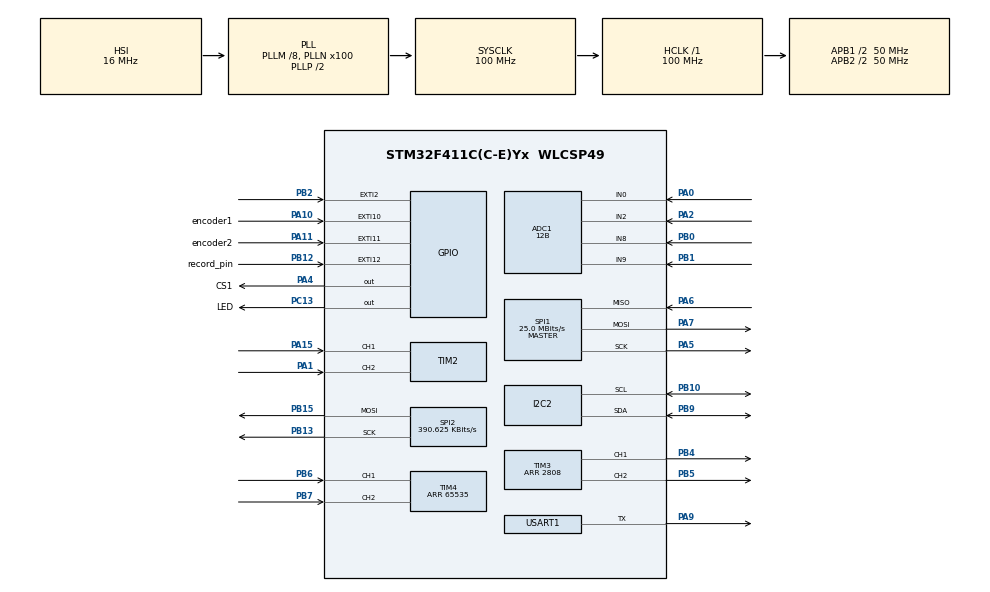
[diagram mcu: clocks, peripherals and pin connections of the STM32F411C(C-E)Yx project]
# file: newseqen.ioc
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ADC1.Channel-0\#ChannelRegularConversion=ADC_CHANNEL_9
ADC1.Channel-1\#ChannelInjectedConversion=ADC_CHANNEL_0
ADC1.Channel-2\#ChannelInjectedConversion=ADC_CHANNEL_2
ADC1.Channel-4\#ChannelInjectedConversion=ADC_CHANNEL_8
ADC1.ClockPrescaler=ADC_CLOCK_SYNC_PCLK_DIV6
ADC1.ContinuousConvMode=ENABLE
ADC1.DMAContinuousRequests=ENABLE
ADC1.EOCSelection=ADC_EOC_SEQ_CONV
ADC1.InjNumberOfConversion=3
ADC1.InjectedOffset-1\#ChannelInjectedConversion=0
ADC1.InjectedOffset-2\#ChannelInjectedConversion=0
ADC1.InjectedOffset-4\#ChannelInjectedConversion=0
ADC1.InjectedRank-1\#ChannelInjectedConversion=1
ADC1.InjectedRank-2\#ChannelInjectedConversion=2
ADC1.InjectedRank-4\#ChannelInjectedConversion=3
ADC1.NbrOfConversion=1
ADC1.NbrOfConversionFlag=1
ADC1.Resolution=ADC_RESOLUTION_12B
ADC1.SamplingTime-0\#ChannelRegularConversion=ADC_SAMPLETIME_144CYCLES
ADC1.SamplingTime-1\#ChannelInjectedConversion=ADC_SAMPLETIME_56CYCLES
ADC1.SamplingTime-2\#ChannelInjectedConversion=ADC_SAMPLETIME_56CYCLES
ADC1.SamplingTime-4\#ChannelInjectedConversion=ADC_SAMPLETIME_3CYCLES
ADC1.ScanConvMode=ENABLE
ADC1.master=1
Dma.ADC1.0.Direction=DMA_PERIPH_TO_MEMORY
Dma.ADC1.0.FIFOMode=DMA_FIFOMODE_DISABLE
Dma.ADC1.0.Instance=DMA2_Stream4
Dma.ADC1.0.MemDataAlignment=DMA_MDATAALIGN_HALFWORD
Dma.ADC1.0.MemInc=DMA_MINC_ENABLE
Dma.ADC1.0.Mode=DMA_CIRCULAR
Dma.ADC1.0.PeriphDataAlignment=DMA_PDATAALIGN_HALFWORD
Dma.ADC1.0.PeriphInc=DMA_PINC_DISABLE
Dma.ADC1.0.Priority=DMA_PRIORITY_LOW
Dma.Request0=ADC1
Dma.Request1=SPI2_TX
Dma.Request2=SPI1_RX
Dma.Request3=SPI1_TX
Dma.SPI1_RX.2.Direction=DMA_PERIPH_TO_MEMORY
Dma.SPI1_RX.2.FIFOMode=DMA_FIFOMODE_DISABLE
Dma.SPI1_RX.2.Instance=DMA2_Stream0
Dma.SPI1_RX.2.MemDataAlignment=DMA_MDATAALIGN_BYTE
Dma.SPI1_RX.2.MemInc=DMA_MINC_ENABLE
Dma.SPI1_RX.2.Mode=DMA_NORMAL
Dma.SPI1_RX.2.PeriphDataAlignment=DMA_PDATAALIGN_BYTE
Dma.SPI1_RX.2.PeriphInc=DMA_PINC_DISABLE
Dma.SPI1_RX.2.Priority=DMA_PRIORITY_LOW
Dma.SPI1_TX.3.Direction=DMA_MEMORY_TO_PERIPH
Dma.SPI1_TX.3.FIFOMode=DMA_FIFOMODE_DISABLE
Dma.SPI1_TX.3.Instance=DMA2_Stream2
Dma.SPI1_TX.3.MemDataAlignment=DMA_MDATAALIGN_BYTE
Dma.SPI1_TX.3.MemInc=DMA_MINC_ENABLE
Dma.SPI1_TX.3.Mode=DMA_NORMAL
Dma.SPI1_TX.3.PeriphDataAlignment=DMA_PDATAALIGN_BYTE
Dma.SPI1_TX.3.PeriphInc=DMA_PINC_DISABLE
Dma.SPI1_TX.3.Priority=DMA_PRIORITY_LOW
Dma.SPI2_TX.1.Direction=DMA_MEMORY_TO_PERIPH
Dma.SPI2_TX.1.FIFOMode=DMA_FIFOMODE_DISABLE
Dma.SPI2_TX.1.Instance=DMA1_Stream4
Dma.SPI2_TX.1.MemDataAlignment=DMA_MDATAALIGN_BYTE
Dma.SPI2_TX.1.MemInc=DMA_MINC_ENABLE
Dma.SPI2_TX.1.Mode=DMA_NORMAL
Dma.SPI2_TX.1.PeriphDataAlignment=DMA_PDATAALIGN_BYTE
Dma.SPI2_TX.1.PeriphInc=DMA_PINC_DISABLE
Dma.SPI2_TX.1.Priority=DMA_PRIORITY_LOW
I2C2.I2C_Mode=I2C_Standard
Mcu.Family=STM32F4
Mcu.Name=STM32F411C(C-E)Yx
Mcu.Package=WLCSP49
NVIC.DMA1_Stream4_IRQn=true\:5\:0\:true\:false\:true\:false\:true\:true
NVIC.DMA2_Stream0_IRQn=true\:0\:0\:false\:false\:true\:false\:true\:true
NVIC.DMA2_Stream2_IRQn=true\:0\:0\:false\:false\:true\:false\:true\:true
NVIC.DMA2_Stream4_IRQn=true\:2\:0\:true\:false\:true\:false\:true\:true
NVIC.EXTI15_10_IRQn=true\:4\:0\:true\:false\:true\:true\:true\:true
NVIC.PriorityGroup=NVIC_PRIORITYGROUP_4
NVIC.TIM1_UP_TIM10_IRQn=true\:3\:0\:true\:false\:true\:true\:true\:true
NVIC.TIM3_IRQn=true\:1\:0\:true\:false\:true\:true\:true\:true
PA0-WKUP.Signal=ADCx_IN0
PA1.GPIO_PuPd=GPIO_PULLUP
PA1.Signal=S_TIM2_CH2
PA10.GPIO_Label=encoder1
PA10.GPIO_ModeDefaultEXTI=GPIO_MODE_IT_FALLING
PA10.GPIO_PuPd=GPIO_PULLUP
PA10.Signal=GPXTI10
PA11.GPIO_Label=encoder2
PA11.GPIO_ModeDefaultEXTI=GPIO_MODE_IT_FALLING
PA11.GPIO_PuPd=GPIO_PULLUP
PA11.Signal=GPXTI11
PA13.Mode=Serial_Wire
PA13.Signal=SYS_JTMS-SWDIO
PA14.Mode=Serial_Wire
PA14.Signal=SYS_JTCK-SWCLK
PA15.GPIO_PuPd=GPIO_PULLUP
PA15.Signal=S_TIM2_CH1_ETR
PA2.Signal=ADCx_IN2
PA4.GPIO_Label=CS1
PA4.GPIO_Speed=GPIO_SPEED_FREQ_VERY_HIGH
PA4.PinState=GPIO_PIN_SET
PA4.Signal=GPIO_Output
PA5.GPIO_PuPd=GPIO_NOPULL
PA5.GPIO_Speed=GPIO_SPEED_FREQ_HIGH
PA5.Mode=Full_Duplex_Master
PA5.Signal=SPI1_SCK
PA6.GPIO_Speed=GPIO_SPEED_FREQ_HIGH
PA6.Mode=Full_Duplex_Master
PA6.Signal=SPI1_MISO
PA7.GPIO_Speed=GPIO_SPEED_FREQ_HIGH
PA7.Mode=Full_Duplex_Master
PA7.Signal=SPI1_MOSI
PA9.GPIO_ModeDefaultOD=GPIO_MODE_AF_PP
PA9.GPIO_PuPd=GPIO_NOPULL
PA9.GPIO_Speed=GPIO_SPEED_FREQ_LOW
PA9.Mode=Half_duplex(single_wire_mode)
PA9.Signal=USART1_TX
PB0.Signal=ADCx_IN8
PB1.Signal=ADCx_IN9
PB10.GPIO_Pu=GPIO_NOPULL
PB10.Mode=I2C
PB10.Signal=I2C2_SCL
PB12.GPIO_Label=record_pin
PB12.GPIO_ModeDefaultEXTI=GPIO_MODE_IT_FALLING
PB12.GPIO_PuPd=GPIO_PULLUP
PB12.Signal=GPXTI12
PB13.Mode=TX_Only_Simplex_Unidirect_Master
PB13.Signal=SPI2_SCK
PB15.Mode=TX_Only_Simplex_Unidirect_Master
PB15.Signal=SPI2_MOSI
PB2.GPIO_ModeDefaultEXTI=GPIO_MODE_IT_FALLING
PB2.GPIO_PuPd=GPIO_PULLUP
PB2.Signal=GPXTI2
PB4.Signal=S_TIM3_CH1
PB5.Signal=S_TIM3_CH2
PB6.GPIO_PuPd=GPIO_PULLUP
PB6.Signal=S_TIM4_CH1
PB7.GPIO_PuPd=GPIO_PULLUP
PB7.Signal=S_TIM4_CH2
PB9.GPIO_Pu=GPIO_NOPULL
PB9.Mode=I2C
PB9.Signal=I2C2_SDA
PC13-ANTI_TAMP.GPIO_Label=LED
PC13-ANTI_TAMP.Signal=GPIO_Output
ProjectManager.HeapSize=0x200
ProjectManager.StackSize=0x400
ProjectManager.TargetToolchain=STM32CubeIDE
RCC.48MHZClocksFreq_Value=50000000
RCC.AHBFreq_Value=100000000
RCC.APB1CLKDivider=RCC_HCLK_DIV2
RCC.APB1Freq_Value=50000000
RCC.APB1TimFreq_Value=100000000
RCC.APB2CLKDivider=RCC_HCLK_DIV2
RCC.APB2Freq_Value=50000000
RCC.APB2TimFreq_Value=100000000
RCC.CortexFreq_Value=100000000
RCC.HCLKFreq_Value=100000000
RCC.HSE_VALUE=25000000
RCC.HSI_VALUE=16000000
RCC.LSE_VALUE=32768
RCC.PLLM=8
RCC.PLLN=100
RCC.SYSCLKFreq_VALUE=100000000
RCC.SYSCLKSource=RCC_SYSCLKSOURCE_PLLCLK
RCC.VCOOutputFreq_Value=200000000
SH.ADCx_IN0.0=ADC1_IN0,IN0
SH.ADCx_IN2.0=ADC1_IN2,IN2
SH.ADCx_IN8.0=ADC1_IN8,IN8
SH.ADCx_IN9.0=ADC1_IN9,IN9
SH.S_TIM2_CH1_ETR.0=TIM2_CH1,Encoder_Interface
SH.S_TIM2_CH2.0=TIM2_CH2,Encoder_Interface
SH.S_TIM3_CH1.0=TIM3_CH1,PWM Generation1 CH1
SH.S_TIM3_CH2.0=TIM3_CH2,PWM Generation2 CH2
SH.S_TIM4_CH1.0=TIM4_CH1,Encoder_Interface
SH.S_TIM4_CH2.0=TIM4_CH2,Encoder_Interface
SPI1.BaudRatePrescaler=SPI_BAUDRATEPRESCALER_2
SPI1.CalculateBaudRate=25.0 MBits/s
SPI1.Direction=SPI_DIRECTION_2LINES
SPI1.Mode=SPI_MODE_MASTER
SPI1.VirtualType=VM_MASTER
SPI2.BaudRatePrescaler=SPI_BAUDRATEPRESCALER_128
SPI2.CalculateBaudRate=390.625 KBits/s
SPI2.Direction=SPI_DIRECTION_2LINES
SPI2.Mode=SPI_MODE_MASTER
SPI2.VirtualType=VM_MASTER
TIM10.AutoReloadPreload=TIM_AUTORELOAD_PRELOAD_ENABLE
TIM10.Channel=TIM_CHANNEL_1
TIM10.Period=50000
TIM10.Prescaler=4
TIM2.ClockDivision=TIM_CLOCKDIVISION_DIV4
TIM2.IC1Filter=2
TIM2.IC1Polarity=TIM_ICPOLARITY_FALLING
TIM2.IC2Filter=2
TIM2.IC2Polarity=TIM_ICPOLARITY_FALLING
TIM3.AutoReloadPreload=TIM_AUTORELOAD_PRELOAD_ENABLE
TIM3.Channel-PWM\ Generation1\ CH1=TIM_CHANNEL_1
TIM3.Channel-PWM\ Generation2\ CH2=TIM_CHANNEL_2
TIM3.OCFastMode_PWM-PWM\ Generation1\ CH1=TIM_OCFAST_ENABLE
TIM3.OCFastMode_PWM-PWM\ Generation2\ CH2=TIM_OCFAST_ENABLE
TIM3.Period=2808
TIM4.ClockDivision=TIM_CLOCKDIVISION_DIV4
TIM4.CounterMode=TIM_COUNTERMODE_UP
TIM4.EncoderMode=TIM_ENCODERMODE_TI2
TIM4.IC1Filter=4
TIM4.IC1Polarity=TIM_ICPOLARITY_FALLING
TIM4.IC2Filter=4
TIM4.IC2Polarity=TIM_ICPOLARITY_FALLING
TIM4.Period=65535
USART1.Mode=MODE_TX
USART1.VirtualMode=VM_ASYNC
VP_TIM10_VS_ClockSourceINT.Mode=Enable_Timer
VP_TIM10_VS_no_output1.Mode=Output Compare1 No Output
VP_TIM3_VS_ClockSourceINT.Mode=Internal
board=custom

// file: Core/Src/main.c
/* USER CODE BEGIN Header */
/**
  ******************************************************************************
  * @file           : main.c
  * @brief          : Main program body
  ******************************************************************************
  * @attention
  *
  * <h2><center>&copy; Copyright (c) 2021 STMicroelectronics.
  * All rights reserved.</center></h2>
  *
  * This software component is licensed by ST under BSD 3-Clause license,
  * the "License"; You may not use this file except in compliance with the
  * License. You may obtain a copy of the License at:
  *                        opensource.org/licenses/BSD-3-Clause
  *
  ******************************************************************************
  */
/* USER CODE END Header */
#include "main.h"

/* USER CODE BEGIN Includes */
#include "stdio.h"

#include "luts.h"    // big tables
#include "myvars.h"			// variables
//#include "core_cm4_simd.h"
#include <stdlib.h>
#include "string.h"
#include "arm_math.h"
//#include"math.h"

//#include  "interpolation_functions.h"

// try adding source as well  file when  undefined reference

//#define __FPU_PRESENT   1

/* Use ARM MATH for Cortex-M4 */

/* USER CODE END Includes */

ADC_HandleTypeDef hadc1;
DMA_HandleTypeDef hdma_adc1;

I2C_HandleTypeDef hi2c2;

SPI_HandleTypeDef hspi1;
SPI_HandleTypeDef hspi2;
DMA_HandleTypeDef hdma_spi1_rx;
DMA_HandleTypeDef hdma_spi1_tx;
DMA_HandleTypeDef hdma_spi2_tx;

TIM_HandleTypeDef htim2;
TIM_HandleTypeDef htim3;
TIM_HandleTypeDef htim4;
TIM_HandleTypeDef htim10;

UART_HandleTypeDef huart1;

/* USER CODE BEGIN PV */
#include "maincode.h"			// void
#include "sampling.h"     // audio process
#include "sampling_extra.h"
#include "display.h"
#include "flash.h"
#include"sample_play.h"     // needs to be after private variables

/* USER CODE END PV */

void SystemClock_Config(void);
static void MX_GPIO_Init(void);
static void MX_DMA_Init(void);
static void MX_ADC1_Init(void);
static void MX_SPI2_Init(void);
static void MX_TIM3_Init(void);
static void MX_TIM4_Init(void);
static void MX_I2C2_Init(void);
static void MX_SPI1_Init(void);
static void MX_USART1_UART_Init(void);
static void MX_TIM10_Init(void);
static void MX_TIM2_Init(void);
/* USER CODE BEGIN PFP */
void stop_start	(void);
/* USER CODE END PFP */

/* USER CODE BEGIN 0 */
void main_initial(void);
/* USER CODE END 0 */

int main(void)
{

  /* MCU Configuration--------------------------------------------------------*/

  /* Reset of all peripherals, Initializes the Flash interface and the Systick. */
  HAL_Init();

  /* Configure the system clock */
  SystemClock_Config();

  /* Initialize all configured peripherals */
  MX_GPIO_Init();
  MX_DMA_Init();
  MX_ADC1_Init();
  MX_SPI2_Init();
  MX_TIM3_Init();
  MX_TIM4_Init();
  MX_I2C2_Init();
  MX_SPI1_Init();
  MX_USART1_UART_Init();
  MX_TIM10_Init();
  MX_TIM2_Init();
  /* USER CODE BEGIN 2 */

main_initial();   // initial setup

  /* USER CODE END 2 */

  /* Infinite loop */
  /* USER CODE BEGIN WHILE */
  while (1)																																																		//   while loop , random 20+ms freeze around 0.5 sec
  {
    /* USER CODE END WHILE */

    /* USER CODE BEGIN 3 */
	  loop_counter++ ;
	  loop_counter2++;// this pretty slow now thanks to gfx , no skips though

	  // if (menu_page<320) lcd_feedback();  //curious no issues with lcd without this  , maybe spell writing
	  uint32_t  millis = HAL_GetTick();

	  if 	((loop_counter2&7)==6)      {analoginputloopb();} // this is ok , plenty quick , no freeze here
			  if ((seq.tempo<40)&&(stop_toggle==0))    {stop_toggle=1; stop_start();stop_toggle=3; seq.tempo=50; }
			  if ((seq.tempo<40)&&(stop_toggle==3))    {stop_toggle=2; stop_start();  stop_toggle=0;seq.tempo=50; }

	if (loop_counter2==9024) {    //   4096=1min=32bytes so 4mins per 128 bank or 15 writes/hour , no freeze here

		    if (mem_count>(EPROM_limit-2)) mem_count=0; else mem_count++;
		    if (mem_count>(EPROM_limit-50)) mem_count=461;  // this might feedback
		   // write to first this was moved for no logical reason ?

			  patch_target_parse(); //
			  uint16_t mem_count2=0;	// read values from stored

			memcpy(potSource,&seq,46); // about 35
			memcpy(potSource+476,&sampler,36);
			memcpy(potSource+572,&delay,5);

			//  memcpy(potSource+572,&sampler+36,20);    // not needed yet

			for(i=0;i<10;i++){
					memcpy(potSource+156+(i*16),&note[i],16 );  //grab note settings ,112 total , works

				memcpy(potSource+46+(i*6),&LFO[i],6 );  // + 60  ,ok
				memcpy(potSource+106+(i*5),&ADSR[i],5 );  // +50  ,
				memcpy(potSource+316+(i*6),&patch[i],6 );   // not writing ?

				memcpy(potSource+376+(i*6),&LFO_slave1[i],6 ); // ext llof settings
				memcpy(potSource+436+(i*4),&LFO_square[i],4 );
				memcpy(potSource+512+(i*6),&patch[i+10],6 );

			}	// copy vars into potSource

			//HAL_UART_Transmit(&huart1,serial_send,4, 100);  //send serial again

			mem_count2=0;
			//	mem_buf=0;
					// mem_verify=0;

					// for patch write start at 2048 for now
			 uint8_t mem_buf_list[50]={0};
			 uint8_t mem_verify_list[50]={0};
			 uint8_t read_counter=0;
			//  --   compare 50 bytes
			 memcpy(&mem_buf_list, potSource+mem_count,50);  // copy 50 from potsource
			 mem_count2=((1+(mem_count>>6))<<6)+(mem_count&63);
			 HAL_I2C_Mem_Read(&hi2c2, 160,mem_count2, 2,mem_verify_list, 50,100);    // reading is quick , 50 bytse
			 for (read_counter=0;read_counter<50;read_counter++){

			     if (mem_verify_list[read_counter]!=mem_buf_list[read_counter])  { break;}  // exit if found difference
			     mem_count++;

			 }
						 // ----- write changed data , might shift these off by one after a while to stop wear
						 mem_buf=potSource[mem_count];
						 mem_count2=((1+(mem_count>>6))<<6)+(mem_count&63);

			if (disable_eeprom==0)	HAL_I2C_Mem_Write(&hi2c2, 160,mem_count2 , 2, &mem_buf, 1, 100);   // write changed

			 // "&hi2c2"  actual register address  , write only when needed

		loop_counter2=0; //reset

		}

	if (serial_tosend){    // send on seq change
		uint16_t mem_counter=0;
		  memcpy(serial_source,&seq,36); // copy bits

		  memcpy(serial_source+96,potSource+252,64 );  // 4 * 16
		  for(mem_counter=0;mem_counter<10;mem_counter++){
			  if (mem_counter<4)memcpy(serial_source+96+(mem_counter*7),&note[mem_counter+6],7 );
						memcpy(serial_source+36+(mem_counter*6),&LFO_slave1[mem_counter],6 );  // insert lfo settings
				  }

		  while ((serial_source_temp[serial_up]==serial_source[serial_up]) &&(serial_up<161) )   {
			  serial_up++;
		  }

		  serial_send[6]=0;
		  serial_send[7]=seq.pos;  // chase
		  serial_send[2]=serial_up;
		  serial_send[3]=serial_source[serial_up];
		  serial_source_temp[serial_up]=serial_source[serial_up];
		  if (serial_up>161) serial_up=0; else serial_up++;

		  HAL_UART_Transmit(&huart1,serial_send,8, 100);  //send serial
		  serial_tosend=0;
	}

		if (disp_end==1)	  {display_generate();}      // run this after gfx draw page finish

		if (init<6)				// after 6 its done for good   // no freeze here
		{
			for (i=0;i<6;i++) {display_init();}  //1-2ms ?  change length if flickering ,maybe initial data

		if (init==6)  {HAL_TIM_Base_Start_IT(&htim10);HAL_TIM_Base_Start(&htim10);	 gfx_TX_block(); 				}
		}

		if (init > 5) {    //  around 3 cycles per single transmit  , plenty quick as is , spi lcd can really slow things down
			if (sampler.sample_save) {
			if (sampler.recorded[sampler.sample_save>>5]&(1<<(sampler.sample_save&31)))
			{sampler.sample_status=2;}  // feedback on sample status
			else sampler.sample_status=1;
			}
			if(sampler.sample_save_enable>10){

			    uint16_t sample_size=sizeof(RAM);

			    		uint8_t* ram_ptr=&RAM[0];

			    				sample_save(sampler.sample_save,ram_ptr, sample_size);  // write sample no 255
			    sampler.sample_save_enable=0;
			    sampler.sample_save=0;   // reset position jus tin case
			    sampler.RAM_free=0; //
			}

		    //full page in mem for spi

		    //  little too fast
			 menu3_fill();encoder2();
		}

		if ((loop_counter2&1023)==0){ // grab adc readings + 3ms , 32 step  // no freeze

			//HAL_ADC_Stop_DMA(&hadc1); // a lot more stable this way , also sampling time no more than /8 +  144 or no go

			HAL_ADCEx_InjectedStart(&hadc1) ;  // start injected mode normal conversion
			uint16_t adc_temp1[4]={0,0,0,0};

			HAL_ADC_PollForConversion(&hadc1,1);  // works but  slow ,blocking very slow, set quick time out

			adc_temp1[0]=HAL_ADCEx_InjectedGetValue(&hadc1, ADC_INJECTED_RANK_1);
			adc_temp1[1] =HAL_ADCEx_InjectedGetValue(&hadc1, ADC_INJECTED_RANK_2);
			adc_temp1[2] =HAL_ADCEx_InjectedGetValue(&hadc1, ADC_INJECTED_RANK_3);
			HAL_ADCEx_InjectedStop(&hadc1) ;
			//  adc_temp1[2] =HAL_ADCEx_InjectedGetValue(&hadc1, ADC_INJECTED_RANK_3);
			adc_values[0]=	(4095-  adc_temp1[0])<<4;  //  4095 = 0
			adc_values[1]=	 (4095- adc_temp1[1])<<4;
			adc_values[2]=	 (4095-adc_temp1[2])<<4;
			//  adc_values[2]=	  adc_temp1[2]>>7;

			loop_counter=0;
		}

		if ((seq.pos==7) && (lcd_send==0)) {lcd_send=1;} // runs just once
		HAL_GPIO_WritePin(LED_GPIO_Port, LED_Pin,(seq.pos & 1)); // easy skip ?
	//	adc_flag=0;
		if (adc_flag) {     //  only for sending out  , poor quality

		    if (adc_playback_position>1020) adc_playback_position=0;  // nudge

		//    adc_playback_position=(adc_playback_position+512)&1023;
			uint16_t    adc_page=0; ;
			if		(adc_flag==1)	  	{	adc_page=0;			}	//dma start ,needs this and adc start ,set sampling time
			if		(adc_flag==2)	  	{	adc_page=1536; }

			uint16_t    adc_convert_count;
			uint16_t    adc_convert_temp;
			for (i=0;i<512;i++){
				adc_convert_count=(i*3)+adc_page;

				adc_convert_temp=adc_source[adc_convert_count]+adc_source[adc_convert_count+1]+adc_source[adc_convert_count+2]; //  17 470 khz  ~
				adc_convert_temp=(adc_convert_temp/3);   // dc offset nearly spot on
				input_holder[i]=adc_convert_temp<<4;
				// maybe start with signed

				//	input_holder[i]=adc_source[(i*3)+adc_page];

			}
			if (sampler.record_enable)  {sampler.RAM_free=1;  loop_counter2=111;   sampler_ram_record(); }  //stop loop counter2

			adc_flag=0;
		}

		if ((sample_point>512)&&( sample_pointD==512)) bank_write=1;
		while  (bank_write)                         {							// wait for adc , priority

			sampling();

	  	}   // should trigger this after adc reads also reset sample_point here

		if((millis-millis_stored)>5) {   // run gfx_line

		  LCD_Info_feedback();
		    uint8_t up_counter2=0;
					while ((up_counter2<8) && (init > 5) )								{

					gfx_line_fill();   // just run 8 times between sampling , dont need more
					up_counter2++;
					loop_counter++;
					}   millis_stored=millis;
		}

	    }  // while loop , total 250/350  cycles/   5/7ms   , max allowed is 13ms

  /* USER CODE END 3 */
}

void SystemClock_Config(void)
{
  RCC_OscInitTypeDef RCC_OscInitStruct = {0};
  RCC_ClkInitTypeDef RCC_ClkInitStruct = {0};

  /** Configure the main internal regulator output voltage
  */
  __HAL_RCC_PWR_CLK_ENABLE();
  __HAL_PWR_VOLTAGESCALING_CONFIG(PWR_REGULATOR_VOLTAGE_SCALE1);

  /** Initializes the RCC Oscillators according to the specified parameters
  * in the RCC_OscInitTypeDef structure.
  */
  RCC_OscInitStruct.OscillatorType = RCC_OSCILLATORTYPE_HSI;
  RCC_OscInitStruct.HSIState = RCC_HSI_ON;
  RCC_OscInitStruct.HSICalibrationValue = RCC_HSICALIBRATION_DEFAULT;
  RCC_OscInitStruct.PLL.PLLState = RCC_PLL_ON;
  RCC_OscInitStruct.PLL.PLLSource = RCC_PLLSOURCE_HSI;
  RCC_OscInitStruct.PLL.PLLM = 8;
  RCC_OscInitStruct.PLL.PLLN = 100;
  RCC_OscInitStruct.PLL.PLLP = RCC_PLLP_DIV2;
  RCC_OscInitStruct.PLL.PLLQ = 4;
  if (HAL_RCC_OscConfig(&RCC_OscInitStruct) != HAL_OK)
  {
    Error_Handler();
  }

  /** Initializes the CPU, AHB and APB buses clocks
  */
  RCC_ClkInitStruct.ClockType = RCC_CLOCKTYPE_HCLK|RCC_CLOCKTYPE_SYSCLK
                              |RCC_CLOCKTYPE_PCLK1|RCC_CLOCKTYPE_PCLK2;
  RCC_ClkInitStruct.SYSCLKSource = RCC_SYSCLKSOURCE_PLLCLK;
  RCC_ClkInitStruct.AHBCLKDivider = RCC_SYSCLK_DIV1;
  RCC_ClkInitStruct.APB1CLKDivider = RCC_HCLK_DIV2;
  RCC_ClkInitStruct.APB2CLKDivider = RCC_HCLK_DIV2;

  if (HAL_RCC_ClockConfig(&RCC_ClkInitStruct, FLASH_LATENCY_3) != HAL_OK)
  {
    Error_Handler();
  }
}

static void MX_ADC1_Init(void)
{

  ADC_ChannelConfTypeDef sConfig = {0};
  ADC_InjectionConfTypeDef sConfigInjected = {0};

  /** Configure the global features of the ADC (Clock, Resolution, Data Alignment and number of conversion)
  */
  hadc1.Instance = ADC1;
  hadc1.Init.ClockPrescaler = ADC_CLOCK_SYNC_PCLK_DIV6;
  hadc1.Init.Resolution = ADC_RESOLUTION_12B;
  hadc1.Init.ScanConvMode = ENABLE;
  hadc1.Init.ContinuousConvMode = ENABLE;
  hadc1.Init.DiscontinuousConvMode = DISABLE;
  hadc1.Init.ExternalTrigConvEdge = ADC_EXTERNALTRIGCONVEDGE_NONE;
  hadc1.Init.ExternalTrigConv = ADC_SOFTWARE_START;
  hadc1.Init.DataAlign = ADC_DATAALIGN_RIGHT;
  hadc1.Init.NbrOfConversion = 1;
  hadc1.Init.DMAContinuousRequests = ENABLE;
  hadc1.Init.EOCSelection = ADC_EOC_SEQ_CONV;
  if (HAL_ADC_Init(&hadc1) != HAL_OK)
  {
    Error_Handler();
  }

  /** Configure for the selected ADC regular channel its corresponding rank in the sequencer and its sample time.
  */
  sConfig.Channel = ADC_CHANNEL_9;
  sConfig.Rank = 1;
  sConfig.SamplingTime = ADC_SAMPLETIME_144CYCLES;
  if (HAL_ADC_ConfigChannel(&hadc1, &sConfig) != HAL_OK)
  {
    Error_Handler();
  }

  /** Configures for the selected ADC injected channel its corresponding rank in the sequencer and its sample time
  */
  sConfigInjected.InjectedChannel = ADC_CHANNEL_0;
  sConfigInjected.InjectedRank = 1;
  sConfigInjected.InjectedNbrOfConversion = 3;
  sConfigInjected.InjectedSamplingTime = ADC_SAMPLETIME_56CYCLES;
  sConfigInjected.ExternalTrigInjecConvEdge = ADC_EXTERNALTRIGINJECCONVEDGE_NONE;
  sConfigInjected.ExternalTrigInjecConv = ADC_INJECTED_SOFTWARE_START;
  sConfigInjected.AutoInjectedConv = DISABLE;
  sConfigInjected.InjectedDiscontinuousConvMode = DISABLE;
  sConfigInjected.InjectedOffset = 0;
  if (HAL_ADCEx_InjectedConfigChannel(&hadc1, &sConfigInjected) != HAL_OK)
  {
    Error_Handler();
  }

  /** Configures for the selected ADC injected channel its corresponding rank in the sequencer and its sample time
  */
  sConfigInjected.InjectedChannel = ADC_CHANNEL_2;
  sConfigInjected.InjectedRank = 2;
  if (HAL_ADCEx_InjectedConfigChannel(&hadc1, &sConfigInjected) != HAL_OK)
  {
    Error_Handler();
  }

  /** Configures for the selected ADC injected channel its corresponding rank in the sequencer and its sample time
  */
  sConfigInjected.InjectedChannel = ADC_CHANNEL_8;
  sConfigInjected.InjectedRank = 3;
  sConfigInjected.InjectedSamplingTime = ADC_SAMPLETIME_3CYCLES;
  if (HAL_ADCEx_InjectedConfigChannel(&hadc1, &sConfigInjected) != HAL_OK)
  {
    Error_Handler();
  }

}

static void MX_I2C2_Init(void)
{

  hi2c2.Instance = I2C2;
  hi2c2.Init.ClockSpeed = 100000;
  hi2c2.Init.DutyCycle = I2C_DUTYCYCLE_2;
  hi2c2.Init.OwnAddress1 = 0;
  hi2c2.Init.AddressingMode = I2C_ADDRESSINGMODE_7BIT;
  hi2c2.Init.DualAddressMode = I2C_DUALADDRESS_DISABLE;
  hi2c2.Init.OwnAddress2 = 0;
  hi2c2.Init.GeneralCallMode = I2C_GENERALCALL_DISABLE;
  hi2c2.Init.NoStretchMode = I2C_NOSTRETCH_DISABLE;
  if (HAL_I2C_Init(&hi2c2) != HAL_OK)
  {
    Error_Handler();
  }

}

static void MX_SPI1_Init(void)
{

  /* SPI1 parameter configuration*/
  hspi1.Instance = SPI1;
  hspi1.Init.Mode = SPI_MODE_MASTER;
  hspi1.Init.Direction = SPI_DIRECTION_2LINES;
  hspi1.Init.DataSize = SPI_DATASIZE_8BIT;
  hspi1.Init.CLKPolarity = SPI_POLARITY_LOW;
  hspi1.Init.CLKPhase = SPI_PHASE_1EDGE;
  hspi1.Init.NSS = SPI_NSS_SOFT;
  hspi1.Init.BaudRatePrescaler = SPI_BAUDRATEPRESCALER_2;
  hspi1.Init.FirstBit = SPI_FIRSTBIT_MSB;
  hspi1.Init.TIMode = SPI_TIMODE_DISABLE;
  hspi1.Init.CRCCalculation = SPI_CRCCALCULATION_DISABLE;
  hspi1.Init.CRCPolynomial = 10;
  if (HAL_SPI_Init(&hspi1) != HAL_OK)
  {
    Error_Handler();
  }

}

static void MX_SPI2_Init(void)
{

  /* SPI2 parameter configuration*/
  hspi2.Instance = SPI2;
  hspi2.Init.Mode = SPI_MODE_MASTER;
  hspi2.Init.Direction = SPI_DIRECTION_2LINES;
  hspi2.Init.DataSize = SPI_DATASIZE_8BIT;
  hspi2.Init.CLKPolarity = SPI_POLARITY_LOW;
  hspi2.Init.CLKPhase = SPI_PHASE_1EDGE;
  hspi2.Init.NSS = SPI_NSS_SOFT;
  hspi2.Init.BaudRatePrescaler = SPI_BAUDRATEPRESCALER_128;
  hspi2.Init.FirstBit = SPI_FIRSTBIT_MSB;
  hspi2.Init.TIMode = SPI_TIMODE_DISABLE;
  hspi2.Init.CRCCalculation = SPI_CRCCALCULATION_DISABLE;
  hspi2.Init.CRCPolynomial = 10;
  if (HAL_SPI_Init(&hspi2) != HAL_OK)
  {
    Error_Handler();
  }

}

static void MX_TIM2_Init(void)
{

  TIM_Encoder_InitTypeDef sConfig = {0};
  TIM_MasterConfigTypeDef sMasterConfig = {0};

  htim2.Instance = TIM2;
  htim2.Init.Prescaler = 0;
  htim2.Init.CounterMode = TIM_COUNTERMODE_UP;
  htim2.Init.Period = 4294967295;
  htim2.Init.ClockDivision = TIM_CLOCKDIVISION_DIV4;
  htim2.Init.AutoReloadPreload = TIM_AUTORELOAD_PRELOAD_DISABLE;
  sConfig.EncoderMode = TIM_ENCODERMODE_TI1;
  sConfig.IC1Polarity = TIM_ICPOLARITY_FALLING;
  sConfig.IC1Selection = TIM_ICSELECTION_DIRECTTI;
  sConfig.IC1Prescaler = TIM_ICPSC_DIV1;
  sConfig.IC1Filter = 2;
  sConfig.IC2Polarity = TIM_ICPOLARITY_FALLING;
  sConfig.IC2Selection = TIM_ICSELECTION_DIRECTTI;
  sConfig.IC2Prescaler = TIM_ICPSC_DIV1;
  sConfig.IC2Filter = 2;
  if (HAL_TIM_Encoder_Init(&htim2, &sConfig) != HAL_OK)
  {
    Error_Handler();
  }
  sMasterConfig.MasterOutputTrigger = TIM_TRGO_RESET;
  sMasterConfig.MasterSlaveMode = TIM_MASTERSLAVEMODE_DISABLE;
  if (HAL_TIMEx_MasterConfigSynchronization(&htim2, &sMasterConfig) != HAL_OK)
  {
    Error_Handler();
  }

}

static void MX_TIM3_Init(void)
{

  TIM_ClockConfigTypeDef sClockSourceConfig = {0};
  TIM_MasterConfigTypeDef sMasterConfig = {0};
  TIM_OC_InitTypeDef sConfigOC = {0};

  htim3.Instance = TIM3;
  htim3.Init.Prescaler = 0;
  htim3.Init.CounterMode = TIM_COUNTERMODE_UP;
  htim3.Init.Period = 2808;
  htim3.Init.ClockDivision = TIM_CLOCKDIVISION_DIV1;
  htim3.Init.AutoReloadPreload = TIM_AUTORELOAD_PRELOAD_ENABLE;
  if (HAL_TIM_Base_Init(&htim3) != HAL_OK)
  {
    Error_Handler();
  }
  sClockSourceConfig.ClockSource = TIM_CLOCKSOURCE_INTERNAL;
  if (HAL_TIM_ConfigClockSource(&htim3, &sClockSourceConfig) != HAL_OK)
  {
    Error_Handler();
  }
  if (HAL_TIM_PWM_Init(&htim3) != HAL_OK)
  {
    Error_Handler();
  }
  sMasterConfig.MasterOutputTrigger = TIM_TRGO_RESET;
  sMasterConfig.MasterSlaveMode = TIM_MASTERSLAVEMODE_DISABLE;
  if (HAL_TIMEx_MasterConfigSynchronization(&htim3, &sMasterConfig) != HAL_OK)
  {
    Error_Handler();
  }
  sConfigOC.OCMode = TIM_OCMODE_PWM1;
  sConfigOC.Pulse = 0;
  sConfigOC.OCPolarity = TIM_OCPOLARITY_HIGH;
  sConfigOC.OCFastMode = TIM_OCFAST_ENABLE;
  if (HAL_TIM_PWM_ConfigChannel(&htim3, &sConfigOC, TIM_CHANNEL_1) != HAL_OK)
  {
    Error_Handler();
  }
  if (HAL_TIM_PWM_ConfigChannel(&htim3, &sConfigOC, TIM_CHANNEL_2) != HAL_OK)
  {
    Error_Handler();
  }
  HAL_TIM_MspPostInit(&htim3);

}

static void MX_TIM4_Init(void)
{

  TIM_Encoder_InitTypeDef sConfig = {0};
  TIM_MasterConfigTypeDef sMasterConfig = {0};

  htim4.Instance = TIM4;
  htim4.Init.Prescaler = 0;
  htim4.Init.CounterMode = TIM_COUNTERMODE_UP;
  htim4.Init.Period = 65535;
  htim4.Init.ClockDivision = TIM_CLOCKDIVISION_DIV4;
  htim4.Init.AutoReloadPreload = TIM_AUTORELOAD_PRELOAD_DISABLE;
  sConfig.EncoderMode = TIM_ENCODERMODE_TI2;
  sConfig.IC1Polarity = TIM_ICPOLARITY_FALLING;
  sConfig.IC1Selection = TIM_ICSELECTION_DIRECTTI;
  sConfig.IC1Prescaler = TIM_ICPSC_DIV1;
  sConfig.IC1Filter = 4;
  sConfig.IC2Polarity = TIM_ICPOLARITY_FALLING;
  sConfig.IC2Selection = TIM_ICSELECTION_DIRECTTI;
  sConfig.IC2Prescaler = TIM_ICPSC_DIV1;
  sConfig.IC2Filter = 4;
  if (HAL_TIM_Encoder_Init(&htim4, &sConfig) != HAL_OK)
  {
    Error_Handler();
  }
  sMasterConfig.MasterOutputTrigger = TIM_TRGO_RESET;
  sMasterConfig.MasterSlaveMode = TIM_MASTERSLAVEMODE_DISABLE;
  if (HAL_TIMEx_MasterConfigSynchronization(&htim4, &sMasterConfig) != HAL_OK)
  {
    Error_Handler();
  }

}

static void MX_TIM10_Init(void)
{

  TIM_OC_InitTypeDef sConfigOC = {0};

  htim10.Instance = TIM10;
  htim10.Init.Prescaler = 4;
  htim10.Init.CounterMode = TIM_COUNTERMODE_UP;
  htim10.Init.Period = 50000;
  htim10.Init.ClockDivision = TIM_CLOCKDIVISION_DIV1;
  htim10.Init.AutoReloadPreload = TIM_AUTORELOAD_PRELOAD_ENABLE;
  if (HAL_TIM_Base_Init(&htim10) != HAL_OK)
  {
    Error_Handler();
  }
  if (HAL_TIM_OC_Init(&htim10) != HAL_OK)
  {
    Error_Handler();
  }
  sConfigOC.OCMode = TIM_OCMODE_TIMING;
  sConfigOC.Pulse = 0;
  sConfigOC.OCPolarity = TIM_OCPOLARITY_HIGH;
  sConfigOC.OCFastMode = TIM_OCFAST_DISABLE;
  if (HAL_TIM_OC_ConfigChannel(&htim10, &sConfigOC, TIM_CHANNEL_1) != HAL_OK)
  {
    Error_Handler();
  }

}

static void MX_USART1_UART_Init(void)
{

  huart1.Instance = USART1;
  huart1.Init.BaudRate = 115200;
  huart1.Init.WordLength = UART_WORDLENGTH_8B;
  huart1.Init.StopBits = UART_STOPBITS_1;
  huart1.Init.Parity = UART_PARITY_NONE;
  huart1.Init.Mode = UART_MODE_TX;
  huart1.Init.HwFlowCtl = UART_HWCONTROL_NONE;
  huart1.Init.OverSampling = UART_OVERSAMPLING_16;
  if (HAL_HalfDuplex_Init(&huart1) != HAL_OK)
  {
    Error_Handler();
  }

}

static void MX_DMA_Init(void)
{

  /* DMA controller clock enable */
  __HAL_RCC_DMA2_CLK_ENABLE();
  __HAL_RCC_DMA1_CLK_ENABLE();

  /* DMA interrupt init */
  /* DMA1_Stream4_IRQn interrupt configuration */
  HAL_NVIC_SetPriority(DMA1_Stream4_IRQn, 5, 0);
  HAL_NVIC_EnableIRQ(DMA1_Stream4_IRQn);
  /* DMA2_Stream0_IRQn interrupt configuration */
  HAL_NVIC_SetPriority(DMA2_Stream0_IRQn, 0, 0);
  HAL_NVIC_EnableIRQ(DMA2_Stream0_IRQn);
  /* DMA2_Stream2_IRQn interrupt configuration */
  HAL_NVIC_SetPriority(DMA2_Stream2_IRQn, 0, 0);
  HAL_NVIC_EnableIRQ(DMA2_Stream2_IRQn);
  /* DMA2_Stream4_IRQn interrupt configuration */
  HAL_NVIC_SetPriority(DMA2_Stream4_IRQn, 2, 0);
  HAL_NVIC_EnableIRQ(DMA2_Stream4_IRQn);

}

static void MX_GPIO_Init(void)
{
  GPIO_InitTypeDef GPIO_InitStruct = {0};

  /* GPIO Ports Clock Enable */
  __HAL_RCC_GPIOA_CLK_ENABLE();
  __HAL_RCC_GPIOB_CLK_ENABLE();
  __HAL_RCC_GPIOC_CLK_ENABLE();

  /*Configure GPIO pin Output Level */
  HAL_GPIO_WritePin(LED_GPIO_Port, LED_Pin, GPIO_PIN_RESET);

  /*Configure GPIO pin Output Level */
  HAL_GPIO_WritePin(CS1_GPIO_Port, CS1_Pin, GPIO_PIN_SET);

  /*Configure GPIO pins : encoder2_Pin encoder1_Pin */
  GPIO_InitStruct.Pin = encoder2_Pin|encoder1_Pin;
  GPIO_InitStruct.Mode = GPIO_MODE_IT_FALLING;
  GPIO_InitStruct.Pull = GPIO_PULLUP;
  HAL_GPIO_Init(GPIOA, &GPIO_InitStruct);

  /*Configure GPIO pin : LED_Pin */
  GPIO_InitStruct.Pin = LED_Pin;
  GPIO_InitStruct.Mode = GPIO_MODE_OUTPUT_PP;
  GPIO_InitStruct.Pull = GPIO_NOPULL;
  GPIO_InitStruct.Speed = GPIO_SPEED_FREQ_LOW;
  HAL_GPIO_Init(LED_GPIO_Port, &GPIO_InitStruct);

  /*Configure GPIO pins : record_pin_Pin PB2 */
  GPIO_InitStruct.Pin = record_pin_Pin|GPIO_PIN_2;
  GPIO_InitStruct.Mode = GPIO_MODE_IT_FALLING;
  GPIO_InitStruct.Pull = GPIO_PULLUP;
  HAL_GPIO_Init(GPIOB, &GPIO_InitStruct);

  /*Configure GPIO pin : CS1_Pin */
  GPIO_InitStruct.Pin = CS1_Pin;
  GPIO_InitStruct.Mode = GPIO_MODE_OUTPUT_PP;
  GPIO_InitStruct.Pull = GPIO_NOPULL;
  GPIO_InitStruct.Speed = GPIO_SPEED_FREQ_VERY_HIGH;
  HAL_GPIO_Init(CS1_GPIO_Port, &GPIO_InitStruct);

  /* EXTI interrupt init*/
  HAL_NVIC_SetPriority(EXTI15_10_IRQn, 4, 0);
  HAL_NVIC_EnableIRQ(EXTI15_10_IRQn);

}

/* USER CODE BEGIN 4 */
/* USER CODE BEGIN 4 */

	void HAL_ADC_ConvHalfCpltCallback(ADC_HandleTypeDef* hadc){
		adc_flag=1;

	}
	void HAL_ADC_ConvCpltCallback(ADC_HandleTypeDef* hadc)   // get data after conversion
	{
	adc_flag=2;

	HAL_ADC_Stop_DMA(&hadc1); HAL_ADC_Start_DMA(&hadc1,& adc_source, 3072);    // try half sample rate   , its 17606  khz

	}

	void HAL_SPI_TxRxHalfCpltCallback(SPI_HandleTypeDef * hspi) {

	    if (SPI1==hspi->Instance) {

		//		if  ((flash_read_block2[10]+   flash_read_block2[11]+  flash_read_block2[12]+  flash_read_block2[13])== 1020                  )

				    {
			//	    error_count++;
		//	memcpy(&error_data,flash_read_block2,127);  // maybe skipping address,, yup idiot Internet advice

						flash_flag=1;}

	}		}

	void HAL_SPI_TxRxCpltCallback(SPI_HandleTypeDef * hspi)   // when finished sending
		{

		   if (SPI1==hspi->Instance) {

		       HAL_GPIO_WritePin(CS1_GPIO_Port, CS1_Pin, 1);  //  end
		       if (sample_dma_counter==0)		{  memcpy(flash_read_block3,flash_read_block2+4,1024);   }
			if (sample_dma_counter)   {memcpy(flash_read_block,flash_read_block2+4,1024); sampler_1k_load(sample_flash_address[1]); sample_dma_counter=0;}
		       flash_flag=2;
		   }
		}

	void HAL_SPI_ErrorCallback(SPI_HandleTypeDef * hspi) {
	   if (SPI1==hspi->Instance) {
error_count++;

		   }
	}

void HAL_SPI_TxCpltCallback(SPI_HandleTypeDef * hspi)   // when finished sending
	{
	//    spi2_send_enable=1;
	    //
	 //   gfx_dma=1;
	//    if (SPI2==hspi->Instance) {gfx_dma=1;}

	}
void HAL_GPIO_EXTI_Callback(uint16_t GPIO_Pin)
{
  if(GPIO_Pin == record_pin_Pin) {
   sampler.record_enable=1;
  }

  if(GPIO_Pin == encoder1_Pin) {
  //page_skip=1;
  record_output=1;
  }
  if(GPIO_Pin == encoder2_Pin) {
  //record_output=1;
 //     page_skip=1;
  }

}

//NVIC_DisableIRQ(TIM3_IRQn);   //  disables all tim irq
void stop_start	(void)             {
  //  if (TIM3==htim ->Instance)
    if  (stop_toggle ==1) {HAL_TIM_Base_Stop_IT(&htim3);}
    if  (stop_toggle ==2) HAL_TIM_Base_Start_IT(&htim3);;

}

/* USER CODE END 4 */

void Error_Handler(void)
{
  __disable_irq();
  while (1)
  {
  }
}
